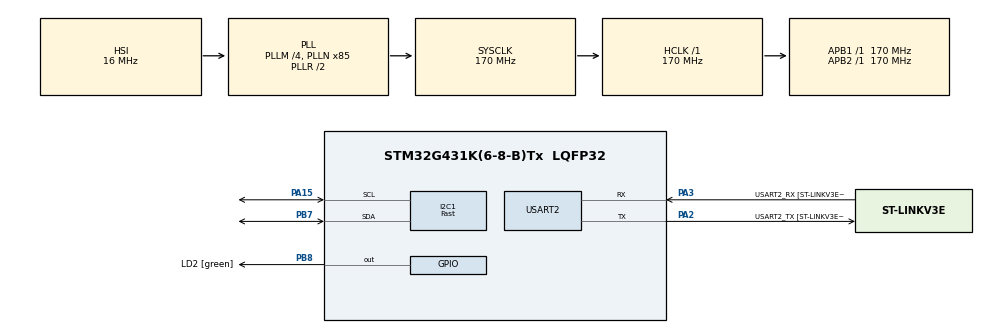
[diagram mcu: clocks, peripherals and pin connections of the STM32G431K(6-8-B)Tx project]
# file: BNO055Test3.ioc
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I2C1.CustomTiming=Disabled
I2C1.I2C_Speed_Mode=I2C_Fast
I2C1.Timing=0x10802D9B
Mcu.Family=STM32G4
Mcu.Name=STM32G431K(6-8-B)Tx
Mcu.Package=LQFP32
NVIC.PriorityGroup=NVIC_PRIORITYGROUP_4
PA13.GPIO_Label=T_SWDIO
PA13.Mode=Serial_Wire
PA13.Signal=SYS_JTMS-SWDIO
PA14.GPIO_Label=T_SWCLK
PA14.Mode=Serial_Wire
PA14.Signal=SYS_JTCK-SWCLK
PA15.Mode=I2C
PA15.Signal=I2C1_SCL
PA2.GPIO_Label=USART2_TX [ST-LINKV3E_VCP_RX]
PA2.Mode=Asynchronous
PA2.Signal=USART2_TX
PA3.GPIO_Label=USART2_RX [ST-LINKV3E_VCP_TX]
PA3.Mode=Asynchronous
PA3.Signal=USART2_RX
PB3.GPIO_Label=T_SWO
PB3.Signal=SYS_JTDO-SWO
PB7.Mode=I2C
PB7.Signal=I2C1_SDA
PB8-BOOT0.GPIO_Label=LD2 [green]
PB8-BOOT0.Signal=GPIO_Output
ProjectManager.HeapSize=0x200
ProjectManager.StackSize=0x400
ProjectManager.TargetToolchain=STM32CubeIDE
RCC.ADC12Freq_Value=170000000
RCC.AHBFreq_Value=170000000
RCC.APB1Freq_Value=170000000
RCC.APB1TimFreq_Value=170000000
RCC.APB2Freq_Value=170000000
RCC.APB2TimFreq_Value=170000000
RCC.CortexFreq_Value=170000000
RCC.EXTERNAL_CLOCK_VALUE=12288000
RCC.HCLKFreq_Value=170000000
RCC.HSE_VALUE=8000000
RCC.HSI48_VALUE=48000000
RCC.HSI_VALUE=16000000
RCC.LSE_VALUE=32768
RCC.PLLM=RCC_PLLM_DIV4
RCC.PLLN=85
RCC.SYSCLKFreq_VALUE=170000000
RCC.SYSCLKSource=RCC_SYSCLKSOURCE_PLLCLK
RCC.USBFreq_Value=170000000
RCC.VCOOutputFreq_Value=340000000
USART2.VirtualMode-Asynchronous=VM_ASYNC
USART2.WordLength=WORDLENGTH_8B
board=NUCLEO-G431KB

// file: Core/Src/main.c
/* USER CODE BEGIN Header */
/**
  ******************************************************************************
  * @file           : main.c
  * @brief          : Main program body
  ******************************************************************************
  * @attention
  *
  * Copyright (c) 2023 STMicroelectronics.
  * All rights reserved.
  *
  * This software is licensed under terms that can be found in the LICENSE file
  * in the root directory of this software component.
  * If no LICENSE file comes with this software, it is provided AS-IS.
  *
  ******************************************************************************
  */
/* USER CODE END Header */
#include "main.h"
#include <stdio.h>

/* USER CODE BEGIN PM */
#define BNO_ADDRESS 0x28

/* USER CODE END PM */

I2C_HandleTypeDef hi2c1;

UART_HandleTypeDef huart2;

void SystemClock_Config(void);
static void MX_GPIO_Init(void);
static void MX_USART2_UART_Init(void);
static void MX_I2C1_Init(void);
/* USER CODE BEGIN PFP */
void BNO055_Init(void);
void print_int(int num, char header[]);
void print_float(float num, char header[]);

/* USER CODE END PFP */

int main(void)
{

  /* MCU Configuration--------------------------------------------------------*/

  /* Reset of all peripherals, Initializes the Flash interface and the Systick. */
  HAL_Init();

  /* Configure the system clock */
  SystemClock_Config();

  /* Initialize all configured peripherals */
  MX_GPIO_Init();
  MX_USART2_UART_Init();
  MX_I2C1_Init();
  /* USER CODE BEGIN 2 */
  BNO055_Init();

  uint8_t Rxbuffer[6]={};
  //uint8_t buff[20];
  float euler[3];
  uint8_t i;
  uint8_t Rxbuff;

  char eulerheader[3][10] = {"x", "y", "z"};

  HAL_I2C_Mem_Read(&hi2c1, 0x28 << 1, 0x3A, I2C_MEMADD_SIZE_8BIT, &Rxbuff, 1, 100);
	print_int(Rxbuff, "Error");

	HAL_I2C_Mem_Read(&hi2c1, 0x28 << 1, 0x00, I2C_MEMADD_SIZE_8BIT, &Rxbuff, 1, 100);
	print_int(Rxbuff, "ID");

	HAL_I2C_Mem_Read(&hi2c1, 0x28 << 1, 0x34, I2C_MEMADD_SIZE_8BIT, &Rxbuff, 1, 100);
	print_int(Rxbuff, "Temp");
	HAL_Delay(5000);
  /* USER CODE END 2 */

  /* Infinite loop */
  while (1)
  {
	  HAL_I2C_Mem_Read(&hi2c1, BNO_ADDRESS << 1, 0x1A, I2C_MEMADD_SIZE_8BIT, Rxbuffer, 6, 100);
	  	  for(i=0; i<3; i++){
	  		  euler[i] = (float)((Rxbuffer[i*2+1] << 8) | Rxbuffer[i*2])/16;
	  		  print_float(euler[i], eulerheader[i]);

	  	  }
	  HAL_Delay(1000);
  }
}

void SystemClock_Config(void)
{
  RCC_OscInitTypeDef RCC_OscInitStruct = {0};
  RCC_ClkInitTypeDef RCC_ClkInitStruct = {0};

  /** Configure the main internal regulator output voltage
  */
  HAL_PWREx_ControlVoltageScaling(PWR_REGULATOR_VOLTAGE_SCALE1_BOOST);

  /** Initializes the RCC Oscillators according to the specified parameters
  * in the RCC_OscInitTypeDef structure.
  */
  RCC_OscInitStruct.OscillatorType = RCC_OSCILLATORTYPE_HSI;
  RCC_OscInitStruct.HSIState = RCC_HSI_ON;
  RCC_OscInitStruct.HSICalibrationValue = RCC_HSICALIBRATION_DEFAULT;
  RCC_OscInitStruct.PLL.PLLState = RCC_PLL_ON;
  RCC_OscInitStruct.PLL.PLLSource = RCC_PLLSOURCE_HSI;
  RCC_OscInitStruct.PLL.PLLM = RCC_PLLM_DIV4;
  RCC_OscInitStruct.PLL.PLLN = 85;
  RCC_OscInitStruct.PLL.PLLP = RCC_PLLP_DIV2;
  RCC_OscInitStruct.PLL.PLLQ = RCC_PLLQ_DIV2;
  RCC_OscInitStruct.PLL.PLLR = RCC_PLLR_DIV2;
  if (HAL_RCC_OscConfig(&RCC_OscInitStruct) != HAL_OK)
  {
    Error_Handler();
  }

  /** Initializes the CPU, AHB and APB buses clocks
  */
  RCC_ClkInitStruct.ClockType = RCC_CLOCKTYPE_HCLK|RCC_CLOCKTYPE_SYSCLK
                              |RCC_CLOCKTYPE_PCLK1|RCC_CLOCKTYPE_PCLK2;
  RCC_ClkInitStruct.SYSCLKSource = RCC_SYSCLKSOURCE_PLLCLK;
  RCC_ClkInitStruct.AHBCLKDivider = RCC_SYSCLK_DIV1;
  RCC_ClkInitStruct.APB1CLKDivider = RCC_HCLK_DIV1;
  RCC_ClkInitStruct.APB2CLKDivider = RCC_HCLK_DIV1;

  if (HAL_RCC_ClockConfig(&RCC_ClkInitStruct, FLASH_LATENCY_4) != HAL_OK)
  {
    Error_Handler();
  }
}

static void MX_I2C1_Init(void)
{

  hi2c1.Instance = I2C1;
  hi2c1.Init.Timing = 0x10802D9B;
  hi2c1.Init.OwnAddress1 = 0;
  hi2c1.Init.AddressingMode = I2C_ADDRESSINGMODE_7BIT;
  hi2c1.Init.DualAddressMode = I2C_DUALADDRESS_DISABLE;
  hi2c1.Init.OwnAddress2 = 0;
  hi2c1.Init.OwnAddress2Masks = I2C_OA2_NOMASK;
  hi2c1.Init.GeneralCallMode = I2C_GENERALCALL_DISABLE;
  hi2c1.Init.NoStretchMode = I2C_NOSTRETCH_DISABLE;
  if (HAL_I2C_Init(&hi2c1) != HAL_OK)
  {
    Error_Handler();
  }

  /** Configure Analogue filter
  */
  if (HAL_I2CEx_ConfigAnalogFilter(&hi2c1, I2C_ANALOGFILTER_ENABLE) != HAL_OK)
  {
    Error_Handler();
  }

  /** Configure Digital filter
  */
  if (HAL_I2CEx_ConfigDigitalFilter(&hi2c1, 0) != HAL_OK)
  {
    Error_Handler();
  }

}

static void MX_USART2_UART_Init(void)
{

  huart2.Instance = USART2;
  huart2.Init.BaudRate = 115200;
  huart2.Init.WordLength = UART_WORDLENGTH_8B;
  huart2.Init.StopBits = UART_STOPBITS_1;
  huart2.Init.Parity = UART_PARITY_NONE;
  huart2.Init.Mode = UART_MODE_TX_RX;
  huart2.Init.HwFlowCtl = UART_HWCONTROL_NONE;
  huart2.Init.OverSampling = UART_OVERSAMPLING_16;
  huart2.Init.OneBitSampling = UART_ONE_BIT_SAMPLE_DISABLE;
  huart2.Init.ClockPrescaler = UART_PRESCALER_DIV1;
  huart2.AdvancedInit.AdvFeatureInit = UART_ADVFEATURE_NO_INIT;
  if (HAL_UART_Init(&huart2) != HAL_OK)
  {
    Error_Handler();
  }
  if (HAL_UARTEx_SetTxFifoThreshold(&huart2, UART_TXFIFO_THRESHOLD_1_8) != HAL_OK)
  {
    Error_Handler();
  }
  if (HAL_UARTEx_SetRxFifoThreshold(&huart2, UART_RXFIFO_THRESHOLD_1_8) != HAL_OK)
  {
    Error_Handler();
  }
  if (HAL_UARTEx_DisableFifoMode(&huart2) != HAL_OK)
  {
    Error_Handler();
  }

}

static void MX_GPIO_Init(void)
{
  GPIO_InitTypeDef GPIO_InitStruct = {0};

  /* GPIO Ports Clock Enable */
  __HAL_RCC_GPIOA_CLK_ENABLE();
  __HAL_RCC_GPIOB_CLK_ENABLE();

  /*Configure GPIO pin Output Level */
  HAL_GPIO_WritePin(LD2_GPIO_Port, LD2_Pin, GPIO_PIN_RESET);

  /*Configure GPIO pin : LD2_Pin */
  GPIO_InitStruct.Pin = LD2_Pin;
  GPIO_InitStruct.Mode = GPIO_MODE_OUTPUT_PP;
  GPIO_InitStruct.Pull = GPIO_NOPULL;
  GPIO_InitStruct.Speed = GPIO_SPEED_FREQ_LOW;
  HAL_GPIO_Init(LD2_GPIO_Port, &GPIO_InitStruct);

}

/* USER CODE BEGIN 4 */
void BNO055_Init(){
	HAL_Delay(700);
	uint8_t Txbuff;
	uint8_t Rxbuff;
	//char message[20];

	//Txbuff = 0x20;
	//HAL_I2C_Mem_Write(&hi2c1, 0x28 << 1, 0x3F, I2C_MEMADD_SIZE_8BIT, &Txbuff, 1, 100); //system trigger

	Txbuff = 0x00;
	HAL_I2C_Mem_Write(&hi2c1, 0x28 << 1, 0x3E, I2C_MEMADD_SIZE_8BIT, &Txbuff, 1, 100); //power mode

	Txbuff = 0x0C;
	HAL_I2C_Mem_Write(&hi2c1, 0x28 << 1, 0x3D, I2C_MEMADD_SIZE_8BIT, &Txbuff, 1, 100);//using Nine Degree of Freedom mode

	HAL_I2C_Mem_Read(&hi2c1, 0x28 << 1, 0x3A, I2C_MEMADD_SIZE_8BIT, &Rxbuff, 1, 100);
	print_int(Rxbuff, "Error");

	HAL_I2C_Mem_Read(&hi2c1, 0x28 << 1, 0x00, I2C_MEMADD_SIZE_8BIT, &Rxbuff, 1, 100);
	print_int(Rxbuff, "ID");

	HAL_I2C_Mem_Read(&hi2c1, 0x28 << 1, 0x34, I2C_MEMADD_SIZE_8BIT, &Rxbuff, 1, 100);
	print_int(Rxbuff, "Temp");

	//print_int(30, "testing");
	HAL_Delay(100);

}

void print_int(int num, char header[]){

	char message[20];
	snprintf(message, sizeof(message), "%s: %d\r\n", header, num);
	HAL_UART_Transmit(&huart2, message, sizeof(message), 100);
}

void print_float(float num, char header[]){

	char message[20];
	snprintf(message, sizeof(message), "%s: %f\r\n", header, num);
	HAL_UART_Transmit(&huart2, message, sizeof(message), 100);
}
/* USER CODE END 4 */

void Error_Handler(void)
{
  __disable_irq();
  while (1)
  {
  }
}
